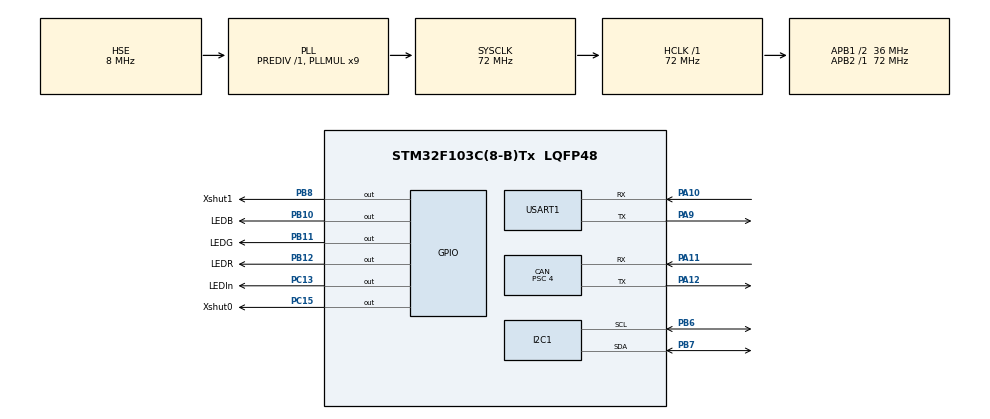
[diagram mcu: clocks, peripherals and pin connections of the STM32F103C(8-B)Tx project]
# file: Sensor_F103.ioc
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CAN.BS1=CAN_BS1_13TQ
CAN.BS2=CAN_BS2_4TQ
CAN.CalculateBaudRate=500000
CAN.CalculateTimeBit=2000
CAN.CalculateTimeQuantum=111.11111111111111
CAN.Prescaler=4
CAN.SJW=CAN_SJW_2TQ
Mcu.Family=STM32F1
Mcu.Name=STM32F103C(8-B)Tx
Mcu.Package=LQFP48
NVIC.CAN1_RX1_IRQn=true\:0\:0\:false\:false\:true\:true\:true\:true
NVIC.CAN1_SCE_IRQn=true\:0\:0\:false\:false\:true\:true\:true\:true
NVIC.PriorityGroup=NVIC_PRIORITYGROUP_4
NVIC.USB_HP_CAN1_TX_IRQn=true\:0\:0\:false\:false\:true\:true\:true\:true
NVIC.USB_LP_CAN1_RX0_IRQn=true\:0\:0\:false\:false\:true\:true\:true\:true
PA10.Mode=Asynchronous
PA10.Signal=USART1_RX
PA11.Mode=CAN_Activate
PA11.Signal=CAN_RX
PA12.Mode=CAN_Activate
PA12.Signal=CAN_TX
PA13.Mode=Serial_Wire
PA13.Signal=SYS_JTMS-SWDIO
PA14.Mode=Serial_Wire
PA14.Signal=SYS_JTCK-SWCLK
PA9.Mode=Asynchronous
PA9.Signal=USART1_TX
PB10.GPIO_Label=LEDB
PB10.Signal=GPIO_Output
PB11.GPIO_Label=LEDG
PB11.Signal=GPIO_Output
PB12.GPIO_Label=LEDR
PB12.Signal=GPIO_Output
PB6.Mode=I2C
PB6.Signal=I2C1_SCL
PB7.Mode=I2C
PB7.Signal=I2C1_SDA
PB8.GPIO_Label=Xshut1
PB8.Signal=GPIO_Output
PC13-TAMPER-RTC.GPIO_Label=LEDIn
PC13-TAMPER-RTC.Signal=GPIO_Output
PC15-OSC32_OUT.GPIO_Label=Xshut0
PC15-OSC32_OUT.Signal=GPIO_Output
PD0-OSC_IN.Mode=HSE-External-Oscillator
PD0-OSC_IN.Signal=RCC_OSC_IN
PD1-OSC_OUT.Mode=HSE-External-Oscillator
PD1-OSC_OUT.Signal=RCC_OSC_OUT
ProjectManager.HeapSize=0x200
ProjectManager.StackSize=0x400
ProjectManager.TargetToolchain=STM32CubeIDE
RCC.AHBFreq_Value=72000000
RCC.APB1CLKDivider=RCC_HCLK_DIV2
RCC.APB1Freq_Value=36000000
RCC.APB1TimFreq_Value=72000000
RCC.APB2Freq_Value=72000000
RCC.APB2TimFreq_Value=72000000
RCC.HCLKFreq_Value=72000000
RCC.PLLMUL=RCC_PLL_MUL9
RCC.PLLSourceVirtual=RCC_PLLSOURCE_HSE
RCC.SYSCLKFreq_VALUE=72000000
RCC.SYSCLKSource=RCC_SYSCLKSOURCE_PLLCLK
RCC.USBFreq_Value=72000000
USART1.VirtualMode=VM_ASYNC
board=custom

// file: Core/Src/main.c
/* USER CODE BEGIN Header */
/**
 ******************************************************************************
 * @file           : main.c
 * @brief          : Main program body
 ******************************************************************************
 * @attention
 *
 * Copyright (c) 2023 STMicroelectronics.
 * All rights reserved.
 *
 * This software is licensed under terms that can be found in the LICENSE file
 * in the root directory of this software component.
 * If no LICENSE file comes with this software, it is provided AS-IS.
 *
 ******************************************************************************
 */
/* USER CODE END Header */
#include "main.h"

/* USER CODE BEGIN Includes */
#include "VL53_Handler.h"
#include "CANCom.h"
/* USER CODE END Includes */

/* USER CODE BEGIN PD */
#define VL53L0X_ADDRESS_0 		0x33
#define VL53L0X_ADDRESS_1		0x32
/* USER CODE END PD */

CAN_HandleTypeDef hcan;

I2C_HandleTypeDef hi2c1;

UART_HandleTypeDef huart1;

/* USER CODE BEGIN PV */
Vl53l0x_HandlerStruct VL53LXX_Handler_0, VL53LXX_Handler_1;
GPIO_HandlerStruct Xshut0 = { .Pin = Xshut0_Pin, .Port = Xshut0_GPIO_Port };
GPIO_HandlerStruct Xshut1 = { .Pin = Xshut1_Pin, .Port = Xshut1_GPIO_Port };
/* USER CODE END PV */

void SystemClock_Config(void);
static void MX_GPIO_Init(void);
static void MX_CAN_Init(void);
static void MX_I2C1_Init(void);
static void MX_USART1_UART_Init(void);

int main(void) {

	/* MCU Configuration--------------------------------------------------------*/

	/* Reset of all peripherals, Initializes the Flash interface and the Systick. */
	HAL_Init();

	/* Configure the system clock */
	SystemClock_Config();

	/* Initialize all configured peripherals */
	MX_GPIO_Init();
	MX_CAN_Init();
	MX_I2C1_Init();
	MX_USART1_UART_Init();
	/* USER CODE BEGIN 2 */

	GPIO_WritePin(Xshut0, 0);
	GPIO_WritePin(Xshut1, 0);

	VL53L0X_Error err = VL53L0X_ERROR_NONE;
	err = Vl53l0x_Init(&VL53LXX_Handler_0, &hi2c1, VL53L0X_ADDRESS_0, Xshut0);
	if (err != VL53L0X_ERROR_NONE) {
		HAL_GPIO_WritePin(LEDG_GPIO_Port, LEDG_Pin, 1);
	}

//	GPIO_WritePin(Xshut0, 1);
	err = Vl53l0x_Init(&VL53LXX_Handler_1, &hi2c1, VL53L0X_ADDRESS_1, Xshut1);
	if (err != VL53L0X_ERROR_NONE) {
		HAL_GPIO_WritePin(LEDR_GPIO_Port, LEDR_Pin, 1);
	}
	int16_t Distance_0 = 0;
	int16_t Distance_1 = 0;
	uint8_t Can_msg[20] = "";
	uint8_t CanMsgLen = 0;
	uint8_t Uart_msg[20] = "";
	uint8_t UartMsgLen = 0;
	CANCom_Init();
//	for (int i = 1; i < 128; i++) {
//			uint8_t ret = HAL_I2C_IsDeviceReady(&hi2c1, (uint16_t) (i << 1), 3, 5);
//			if (ret == HAL_OK) {
//				UartMsgLen = sprintf(Uart_msg,"0x%X",i);
//				HAL_UART_Transmit(&huart1, Uart_msg, UartMsgLen, 300);
//				HAL_GPIO_WritePin(LEDG_GPIO_Port, LEDG_Pin, 1);
//			}
//		}
	/* USER CODE END 2 */

	/* Infinite loop */
	/* USER CODE BEGIN WHILE */
	while (1) {
		Distance_0 = Vl53l0x_ReadMeasure(&VL53LXX_Handler_0);
		Distance_1 = Vl53l0x_ReadMeasure(&VL53LXX_Handler_1);
		if ((Distance_0 >= 0 && Distance_0 < 100) || (Distance_1 >= 0 && Distance_1 < 100)) {
			CanMsgLen = sprintf(Can_msg, "%d;%d", Distance_0,
					Distance_1);
			CANCom_Transmit(Can_msg, CanMsgLen);
		}
//		UartMsgLen = sprintf(Uart_msg, "%d;%d\r\n", Distance_0, Distance_1);
//		HAL_UART_Transmit(&huart1, Uart_msg, UartMsgLen, 300);
		HAL_Delay(1000);
		/* USER CODE END WHILE */

	}
}

void SystemClock_Config(void) {
	RCC_OscInitTypeDef RCC_OscInitStruct = { 0 };
	RCC_ClkInitTypeDef RCC_ClkInitStruct = { 0 };

	/** Initializes the RCC Oscillators according to the specified parameters
	 * in the RCC_OscInitTypeDef structure.
	 */
	RCC_OscInitStruct.OscillatorType = RCC_OSCILLATORTYPE_HSE;
	RCC_OscInitStruct.HSEState = RCC_HSE_ON;
	RCC_OscInitStruct.HSEPredivValue = RCC_HSE_PREDIV_DIV1;
	RCC_OscInitStruct.HSIState = RCC_HSI_ON;
	RCC_OscInitStruct.PLL.PLLState = RCC_PLL_ON;
	RCC_OscInitStruct.PLL.PLLSource = RCC_PLLSOURCE_HSE;
	RCC_OscInitStruct.PLL.PLLMUL = RCC_PLL_MUL9;
	if (HAL_RCC_OscConfig(&RCC_OscInitStruct) != HAL_OK) {
		Error_Handler();
	}

	/** Initializes the CPU, AHB and APB buses clocks
	 */
	RCC_ClkInitStruct.ClockType = RCC_CLOCKTYPE_HCLK | RCC_CLOCKTYPE_SYSCLK
			| RCC_CLOCKTYPE_PCLK1 | RCC_CLOCKTYPE_PCLK2;
	RCC_ClkInitStruct.SYSCLKSource = RCC_SYSCLKSOURCE_PLLCLK;
	RCC_ClkInitStruct.AHBCLKDivider = RCC_SYSCLK_DIV1;
	RCC_ClkInitStruct.APB1CLKDivider = RCC_HCLK_DIV2;
	RCC_ClkInitStruct.APB2CLKDivider = RCC_HCLK_DIV1;

	if (HAL_RCC_ClockConfig(&RCC_ClkInitStruct, FLASH_LATENCY_2) != HAL_OK) {
		Error_Handler();
	}
}

static void MX_CAN_Init(void) {

	hcan.Instance = CAN1;
	hcan.Init.Prescaler = 4;
	hcan.Init.Mode = CAN_MODE_NORMAL;
	hcan.Init.SyncJumpWidth = CAN_SJW_2TQ;
	hcan.Init.TimeSeg1 = CAN_BS1_13TQ;
	hcan.Init.TimeSeg2 = CAN_BS2_4TQ;
	hcan.Init.TimeTriggeredMode = DISABLE;
	hcan.Init.AutoBusOff = DISABLE;
	hcan.Init.AutoWakeUp = DISABLE;
	hcan.Init.AutoRetransmission = DISABLE;
	hcan.Init.ReceiveFifoLocked = DISABLE;
	hcan.Init.TransmitFifoPriority = DISABLE;
	if (HAL_CAN_Init(&hcan) != HAL_OK) {
		Error_Handler();
	}

}

static void MX_I2C1_Init(void) {

	hi2c1.Instance = I2C1;
	hi2c1.Init.ClockSpeed = 100000;
	hi2c1.Init.DutyCycle = I2C_DUTYCYCLE_2;
	hi2c1.Init.OwnAddress1 = 0;
	hi2c1.Init.AddressingMode = I2C_ADDRESSINGMODE_7BIT;
	hi2c1.Init.DualAddressMode = I2C_DUALADDRESS_DISABLE;
	hi2c1.Init.OwnAddress2 = 0;
	hi2c1.Init.GeneralCallMode = I2C_GENERALCALL_DISABLE;
	hi2c1.Init.NoStretchMode = I2C_NOSTRETCH_DISABLE;
	if (HAL_I2C_Init(&hi2c1) != HAL_OK) {
		Error_Handler();
	}

}

static void MX_USART1_UART_Init(void) {

	huart1.Instance = USART1;
	huart1.Init.BaudRate = 115200;
	huart1.Init.WordLength = UART_WORDLENGTH_8B;
	huart1.Init.StopBits = UART_STOPBITS_1;
	huart1.Init.Parity = UART_PARITY_NONE;
	huart1.Init.Mode = UART_MODE_TX_RX;
	huart1.Init.HwFlowCtl = UART_HWCONTROL_NONE;
	huart1.Init.OverSampling = UART_OVERSAMPLING_16;
	if (HAL_UART_Init(&huart1) != HAL_OK) {
		Error_Handler();
	}

}

static void MX_GPIO_Init(void) {
	GPIO_InitTypeDef GPIO_InitStruct = { 0 };

	/* GPIO Ports Clock Enable */
	__HAL_RCC_GPIOC_CLK_ENABLE();
	__HAL_RCC_GPIOD_CLK_ENABLE();
	__HAL_RCC_GPIOB_CLK_ENABLE();
	__HAL_RCC_GPIOA_CLK_ENABLE();

	/*Configure GPIO pin Output Level */
	HAL_GPIO_WritePin(GPIOC, LEDIn_Pin | Xshut0_Pin, GPIO_PIN_RESET);

	/*Configure GPIO pin Output Level */
	HAL_GPIO_WritePin(GPIOB, LEDB_Pin | LEDG_Pin | LEDR_Pin | Xshut1_Pin,
			GPIO_PIN_RESET);

	/*Configure GPIO pins : LEDIn_Pin Xshut0_Pin */
	GPIO_InitStruct.Pin = LEDIn_Pin | Xshut0_Pin;
	GPIO_InitStruct.Mode = GPIO_MODE_OUTPUT_PP;
	GPIO_InitStruct.Pull = GPIO_NOPULL;
	GPIO_InitStruct.Speed = GPIO_SPEED_FREQ_LOW;
	HAL_GPIO_Init(GPIOC, &GPIO_InitStruct);

	/*Configure GPIO pins : LEDB_Pin LEDG_Pin LEDR_Pin Xshut1_Pin */
	GPIO_InitStruct.Pin = LEDB_Pin | LEDG_Pin | LEDR_Pin | Xshut1_Pin;
	GPIO_InitStruct.Mode = GPIO_MODE_OUTPUT_PP;
	GPIO_InitStruct.Pull = GPIO_NOPULL;
	GPIO_InitStruct.Speed = GPIO_SPEED_FREQ_LOW;
	HAL_GPIO_Init(GPIOB, &GPIO_InitStruct);

}

void Error_Handler(void) {
	__disable_irq();
	while (1) {
	}
}
